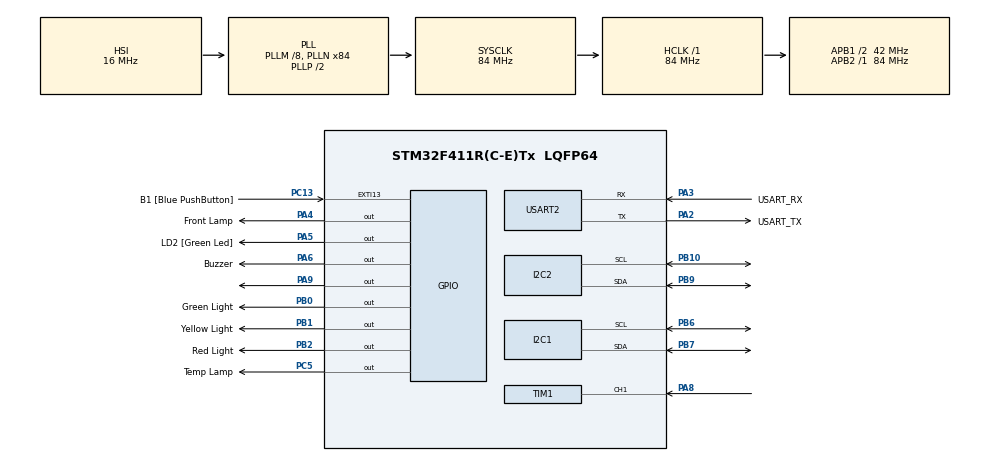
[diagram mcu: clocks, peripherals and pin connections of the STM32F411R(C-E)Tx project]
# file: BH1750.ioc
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I2C1.I2C_Mode=I2C_Fast
I2C2.I2C_Mode=I2C_Standard
Mcu.Family=STM32F4
Mcu.Name=STM32F411R(C-E)Tx
Mcu.Package=LQFP64
NVIC.PriorityGroup=NVIC_PRIORITYGROUP_0
NVIC.TIM1_CC_IRQn=true\:0\:0\:false\:false\:true\:true\:true\:true
NVIC.TIM1_UP_TIM10_IRQn=true\:0\:0\:false\:false\:true\:true\:true\:true
PA13.GPIO_Label=TMS
PA13.Mode=Serial_Wire
PA13.Signal=SYS_JTMS-SWDIO
PA14.GPIO_Label=TCK
PA14.Mode=Serial_Wire
PA14.Signal=SYS_JTCK-SWCLK
PA2.GPIO_Label=USART_TX
PA2.Mode=Asynchronous
PA2.Signal=USART2_TX
PA3.GPIO_Label=USART_RX
PA3.Mode=Asynchronous
PA3.Signal=USART2_RX
PA4.GPIO_Label=Front Lamp
PA4.Signal=GPIO_Output
PA5.GPIO_Label=LD2 [Green Led]
PA5.Signal=GPIO_Output
PA6.GPIO_Label=Buzzer
PA6.Signal=GPIO_Output
PA8.Signal=S_TIM1_CH1
PA9.Signal=GPIO_Output
PB0.GPIO_Label=Green Light
PB0.Signal=GPIO_Output
PB1.GPIO_Label=Yellow Light
PB1.Signal=GPIO_Output
PB10.Mode=I2C
PB10.Signal=I2C2_SCL
PB2.GPIO_Label=Red Light
PB2.Signal=GPIO_Output
PB3.GPIO_Label=SWO
PB3.Signal=SYS_JTDO-SWO
PB6.Mode=I2C
PB6.Signal=I2C1_SCL
PB7.Mode=I2C
PB7.Signal=I2C1_SDA
PB9.Mode=I2C
PB9.Signal=I2C2_SDA
PC13-ANTI_TAMP.GPIO_Label=B1 [Blue PushButton]
PC13-ANTI_TAMP.GPIO_ModeDefaultEXTI=GPIO_MODE_IT_FALLING
PC13-ANTI_TAMP.Signal=GPXTI13
PC14-OSC32_IN.Mode=LSE-External-Oscillator
PC14-OSC32_IN.Signal=RCC_OSC32_IN
PC15-OSC32_OUT.Mode=LSE-External-Oscillator
PC15-OSC32_OUT.Signal=RCC_OSC32_OUT
PC5.GPIO_Label=Temp Lamp
PC5.Signal=GPIO_Output
PH0\ -\ OSC_IN.Mode=HSE-External-Clock-Source
PH0\ -\ OSC_IN.Signal=RCC_OSC_IN
PH1\ -\ OSC_OUT.Mode=HSE-External-Clock-Source
PH1\ -\ OSC_OUT.Signal=RCC_OSC_OUT
ProjectManager.HeapSize=0x200
ProjectManager.StackSize=0x400
ProjectManager.TargetToolchain=STM32CubeIDE
RCC.48MHZClocksFreq_Value=42000000
RCC.AHBFreq_Value=84000000
RCC.APB1CLKDivider=RCC_HCLK_DIV2
RCC.APB1Freq_Value=42000000
RCC.APB1TimFreq_Value=84000000
RCC.APB2Freq_Value=84000000
RCC.APB2TimFreq_Value=84000000
RCC.CortexFreq_Value=84000000
RCC.FLatency-AdvancedSettings=FLASH_LATENCY_2
RCC.HCLKFreq_Value=84000000
RCC.HSE_VALUE=8000000
RCC.HSI_VALUE=16000000
RCC.PLLM=8
RCC.PLLN=84
RCC.SYSCLKFreq_VALUE=84000000
RCC.SYSCLKSource=RCC_SYSCLKSOURCE_PLLCLK
RCC.VCOOutputFreq_Value=168000000
SH.S_TIM1_CH1.0=TIM1_CH1,Input_Capture1_from_TI1
TIM1.Channel-Input_Capture1_from_TI1=TIM_CHANNEL_1
TIM1.Prescaler=72
USART2.VirtualMode=VM_ASYNC
VP_TIM1_VS_ClockSourceINT.Mode=Internal
board=NUCLEO-F411RE

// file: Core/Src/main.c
/* USER CODE BEGIN Header */
/**
  ******************************************************************************
  * @file           : main.c
  * @brief          : Main program body
  ******************************************************************************
  * @attention
  *
  * Copyright (c) 2024 STMicroelectronics.
  * All rights reserved.
  *
  * This software is licensed under terms that can be found in the LICENSE file
  * in the root directory of this software component.
  * If no LICENSE file comes with this software, it is provided AS-IS.
  *
  ******************************************************************************
  */
/* USER CODE END Header */
#include "main.h"

/* USER CODE BEGIN Includes */
#include "bh1750.h"
#include "mpu6050.h"
#include "stdio.h"

/* USER CODE END Includes */

I2C_HandleTypeDef hi2c1;
I2C_HandleTypeDef hi2c2;

TIM_HandleTypeDef htim1;

UART_HandleTypeDef huart2;

/* USER CODE BEGIN PV */
MPU6050_t MPU6050;
float BH1750_lux;
sr04_t sr04;
/* USER CODE END PV */

void SystemClock_Config(void);
static void MX_GPIO_Init(void);
static void MX_USART2_UART_Init(void);
static void MX_I2C1_Init(void);
static void MX_I2C2_Init(void);
static void MX_TIM1_Init(void);

int main(void)
{

  /* MCU Configuration--------------------------------------------------------*/

  /* Reset of all peripherals, Initializes the Flash interface and the Systick. */
  HAL_Init();

  /* Configure the system clock */
  SystemClock_Config();

  /* Initialize all configured peripherals */
  MX_GPIO_Init();
  MX_USART2_UART_Init();
  MX_I2C1_Init();
  MX_I2C2_Init();
  MX_TIM1_Init();
  /* USER CODE BEGIN 2 */
  while (MPU6050_Init(&hi2c1) == 1);

  BH1750_Init(&hi2c2);
  BH1750_SetMode(CONTINUOUS_HIGH_RES_MODE_2);

  sr04.trig_port = GPIOA;
  sr04.trig_pin = GPIO_PIN_9;
  sr04.echo_htim = &htim1;
  sr04.echo_channel = TIM_CHANNEL_1;
  sr04_init(&sr04);

  /* USER CODE END 2 */

  /* Infinite loop */
  /* USER CODE BEGIN WHILE */
  char buffer[40];
  uint8_t size;

  while (1)
  {
	  // Gyroscope and Thermometer
	  MPU6050_Read_All(&hi2c1, &MPU6050);
	  size = sprintf(buffer, "Gyro X/Y: %f %f\r\nTemp: %f\r\n", MPU6050.KalmanAngleX, MPU6050.KalmanAngleY, MPU6050.Temperature);
	  HAL_UART_Transmit(&huart2, (uint8_t*)buffer, size, 100);

	  // Ultrasonic sensor reading distance
	  sr04_trigger(&sr04);
	  size = sprintf(buffer, "Distance: %d\n\r", sr04.distance);
	  HAL_UART_Transmit(&huart2, (uint8_t*)buffer, size, 100);

	  // Lux Meter
	  if(BH1750_OK == BH1750_ReadLight(&BH1750_lux))
	  {
		  size = sprintf(buffer, "BH1750: %.2f\n\r", BH1750_lux);
	  	  HAL_UART_Transmit(&huart2, (uint8_t*)buffer, size, 100);
	  } else {
	      size = sprintf(buffer, "ERROR\r\n");
	  	  HAL_UART_Transmit(&huart2, (uint8_t*)buffer, size, 100);
	  }

	  // If brightness is less than 50 lux, then open the front lamp
	  if(BH1750_lux < 50){
		  HAL_GPIO_WritePin(GPIOA, GPIO_PIN_4, GPIO_PIN_SET);
	  }
	  else{
		  HAL_GPIO_WritePin(GPIOA, GPIO_PIN_4, GPIO_PIN_RESET);
	  }

	  // if temp > 29, then open the temp lamp
	  if(MPU6050.Temperature > 29) {
		  HAL_GPIO_WritePin(GPIOC, GPIO_PIN_5, GPIO_PIN_SET);
	  } else {
		  HAL_GPIO_WritePin(GPIOC, GPIO_PIN_5, GPIO_PIN_RESET);
	  }

	  // Gyroscope: MPU6050.KalmanAngleX
	  // more than 15 degrees -> Yellow
	  // more than 30 degrees -> Red + Buzzer
	  // Ultrasonic: sr04.distance
	  // less than 200 mm -> Yellow
	  // less than 100 mm -> Red + Buzzer

	  if (MPU6050.KalmanAngleX > 30 || MPU6050.KalmanAngleX < -30 || sr04.distance < 100) {
		  // Red + Buzzer: Angle > 30 degree or Distance < 100 mm
		  size = sprintf(buffer, "RED", BH1750_lux);
		  HAL_UART_Transmit(&huart2, (uint8_t*)buffer, size, 100);

		  HAL_GPIO_WritePin(GPIOB, GPIO_PIN_0, GPIO_PIN_RESET);
		  HAL_GPIO_WritePin(GPIOB, GPIO_PIN_1, GPIO_PIN_RESET);
		  HAL_GPIO_WritePin(GPIOB, GPIO_PIN_2, GPIO_PIN_SET);
		  HAL_GPIO_WritePin(GPIOA, GPIO_PIN_6, GPIO_PIN_SET);
		  HAL_Delay(10);
	  } else if (MPU6050.KalmanAngleX > 15 || MPU6050.KalmanAngleX < -15 || sr04.distance < 200) {
		  // Yellow: Angle > 15 degree or Distance < 200 mm
		  size = sprintf(buffer, "Yellow", BH1750_lux);
		  HAL_UART_Transmit(&huart2, (uint8_t*)buffer, size, 100);

		  HAL_GPIO_WritePin(GPIOB, GPIO_PIN_0, GPIO_PIN_RESET);
		  HAL_GPIO_WritePin(GPIOB, GPIO_PIN_1, GPIO_PIN_SET);
		  HAL_GPIO_WritePin(GPIOB, GPIO_PIN_2, GPIO_PIN_RESET);
		  HAL_GPIO_WritePin(GPIOA, GPIO_PIN_6, GPIO_PIN_RESET);
		  HAL_Delay(10);
	  } else {
		  // Green: Normal
		  size = sprintf(buffer, "Green", BH1750_lux);
		  HAL_UART_Transmit(&huart2, (uint8_t*)buffer, size, 100);

		  HAL_GPIO_WritePin(GPIOB, GPIO_PIN_0, GPIO_PIN_SET);
		  HAL_GPIO_WritePin(GPIOB, GPIO_PIN_1, GPIO_PIN_RESET);
		  HAL_GPIO_WritePin(GPIOB, GPIO_PIN_2, GPIO_PIN_RESET);
		  HAL_GPIO_WritePin(GPIOA, GPIO_PIN_6, GPIO_PIN_RESET);
		  HAL_Delay(10);
	  }
	  HAL_Delay(100);

    /* USER CODE END WHILE */

  }
}

void SystemClock_Config(void)
{
  RCC_OscInitTypeDef RCC_OscInitStruct = {0};
  RCC_ClkInitTypeDef RCC_ClkInitStruct = {0};

  /** Configure the main internal regulator output voltage
  */
  __HAL_RCC_PWR_CLK_ENABLE();
  __HAL_PWR_VOLTAGESCALING_CONFIG(PWR_REGULATOR_VOLTAGE_SCALE1);

  /** Initializes the RCC Oscillators according to the specified parameters
  * in the RCC_OscInitTypeDef structure.
  */
  RCC_OscInitStruct.OscillatorType = RCC_OSCILLATORTYPE_HSI;
  RCC_OscInitStruct.HSIState = RCC_HSI_ON;
  RCC_OscInitStruct.HSICalibrationValue = RCC_HSICALIBRATION_DEFAULT;
  RCC_OscInitStruct.PLL.PLLState = RCC_PLL_ON;
  RCC_OscInitStruct.PLL.PLLSource = RCC_PLLSOURCE_HSI;
  RCC_OscInitStruct.PLL.PLLM = 8;
  RCC_OscInitStruct.PLL.PLLN = 84;
  RCC_OscInitStruct.PLL.PLLP = RCC_PLLP_DIV2;
  RCC_OscInitStruct.PLL.PLLQ = 4;
  if (HAL_RCC_OscConfig(&RCC_OscInitStruct) != HAL_OK)
  {
    Error_Handler();
  }

  /** Initializes the CPU, AHB and APB buses clocks
  */
  RCC_ClkInitStruct.ClockType = RCC_CLOCKTYPE_HCLK|RCC_CLOCKTYPE_SYSCLK
                              |RCC_CLOCKTYPE_PCLK1|RCC_CLOCKTYPE_PCLK2;
  RCC_ClkInitStruct.SYSCLKSource = RCC_SYSCLKSOURCE_PLLCLK;
  RCC_ClkInitStruct.AHBCLKDivider = RCC_SYSCLK_DIV1;
  RCC_ClkInitStruct.APB1CLKDivider = RCC_HCLK_DIV2;
  RCC_ClkInitStruct.APB2CLKDivider = RCC_HCLK_DIV1;

  if (HAL_RCC_ClockConfig(&RCC_ClkInitStruct, FLASH_LATENCY_2) != HAL_OK)
  {
    Error_Handler();
  }
}

static void MX_I2C1_Init(void)
{

  hi2c1.Instance = I2C1;
  hi2c1.Init.ClockSpeed = 400000;
  hi2c1.Init.DutyCycle = I2C_DUTYCYCLE_2;
  hi2c1.Init.OwnAddress1 = 0;
  hi2c1.Init.AddressingMode = I2C_ADDRESSINGMODE_7BIT;
  hi2c1.Init.DualAddressMode = I2C_DUALADDRESS_DISABLE;
  hi2c1.Init.OwnAddress2 = 0;
  hi2c1.Init.GeneralCallMode = I2C_GENERALCALL_DISABLE;
  hi2c1.Init.NoStretchMode = I2C_NOSTRETCH_DISABLE;
  if (HAL_I2C_Init(&hi2c1) != HAL_OK)
  {
    Error_Handler();
  }

}

static void MX_I2C2_Init(void)
{

  hi2c2.Instance = I2C2;
  hi2c2.Init.ClockSpeed = 100000;
  hi2c2.Init.DutyCycle = I2C_DUTYCYCLE_2;
  hi2c2.Init.OwnAddress1 = 0;
  hi2c2.Init.AddressingMode = I2C_ADDRESSINGMODE_7BIT;
  hi2c2.Init.DualAddressMode = I2C_DUALADDRESS_DISABLE;
  hi2c2.Init.OwnAddress2 = 0;
  hi2c2.Init.GeneralCallMode = I2C_GENERALCALL_DISABLE;
  hi2c2.Init.NoStretchMode = I2C_NOSTRETCH_DISABLE;
  if (HAL_I2C_Init(&hi2c2) != HAL_OK)
  {
    Error_Handler();
  }

}

static void MX_TIM1_Init(void)
{

  TIM_ClockConfigTypeDef sClockSourceConfig = {0};
  TIM_MasterConfigTypeDef sMasterConfig = {0};
  TIM_IC_InitTypeDef sConfigIC = {0};

  htim1.Instance = TIM1;
  htim1.Init.Prescaler = 72;
  htim1.Init.CounterMode = TIM_COUNTERMODE_UP;
  htim1.Init.Period = 65535;
  htim1.Init.ClockDivision = TIM_CLOCKDIVISION_DIV1;
  htim1.Init.RepetitionCounter = 0;
  htim1.Init.AutoReloadPreload = TIM_AUTORELOAD_PRELOAD_DISABLE;
  if (HAL_TIM_Base_Init(&htim1) != HAL_OK)
  {
    Error_Handler();
  }
  sClockSourceConfig.ClockSource = TIM_CLOCKSOURCE_INTERNAL;
  if (HAL_TIM_ConfigClockSource(&htim1, &sClockSourceConfig) != HAL_OK)
  {
    Error_Handler();
  }
  if (HAL_TIM_IC_Init(&htim1) != HAL_OK)
  {
    Error_Handler();
  }
  sMasterConfig.MasterOutputTrigger = TIM_TRGO_RESET;
  sMasterConfig.MasterSlaveMode = TIM_MASTERSLAVEMODE_DISABLE;
  if (HAL_TIMEx_MasterConfigSynchronization(&htim1, &sMasterConfig) != HAL_OK)
  {
    Error_Handler();
  }
  sConfigIC.ICPolarity = TIM_INPUTCHANNELPOLARITY_RISING;
  sConfigIC.ICSelection = TIM_ICSELECTION_DIRECTTI;
  sConfigIC.ICPrescaler = TIM_ICPSC_DIV1;
  sConfigIC.ICFilter = 0;
  if (HAL_TIM_IC_ConfigChannel(&htim1, &sConfigIC, TIM_CHANNEL_1) != HAL_OK)
  {
    Error_Handler();
  }

}

static void MX_USART2_UART_Init(void)
{

  huart2.Instance = USART2;
  huart2.Init.BaudRate = 115200;
  huart2.Init.WordLength = UART_WORDLENGTH_8B;
  huart2.Init.StopBits = UART_STOPBITS_1;
  huart2.Init.Parity = UART_PARITY_NONE;
  huart2.Init.Mode = UART_MODE_TX_RX;
  huart2.Init.HwFlowCtl = UART_HWCONTROL_NONE;
  huart2.Init.OverSampling = UART_OVERSAMPLING_16;
  if (HAL_UART_Init(&huart2) != HAL_OK)
  {
    Error_Handler();
  }

}

static void MX_GPIO_Init(void)
{
  GPIO_InitTypeDef GPIO_InitStruct = {0};

  /* GPIO Ports Clock Enable */
  __HAL_RCC_GPIOC_CLK_ENABLE();
  __HAL_RCC_GPIOH_CLK_ENABLE();
  __HAL_RCC_GPIOA_CLK_ENABLE();
  __HAL_RCC_GPIOB_CLK_ENABLE();

  /*Configure GPIO pin Output Level */
  HAL_GPIO_WritePin(GPIOA, Front_Lamp_Pin|LD2_Pin|Buzzer_Pin|GPIO_PIN_9, GPIO_PIN_RESET);

  /*Configure GPIO pin Output Level */
  HAL_GPIO_WritePin(Temp_Lamp_GPIO_Port, Temp_Lamp_Pin, GPIO_PIN_RESET);

  /*Configure GPIO pin Output Level */
  HAL_GPIO_WritePin(GPIOB, Green_Light_Pin|Yellow_Light_Pin|Red_Light_Pin, GPIO_PIN_RESET);

  /*Configure GPIO pin : B1_Pin */
  GPIO_InitStruct.Pin = B1_Pin;
  GPIO_InitStruct.Mode = GPIO_MODE_IT_FALLING;
  GPIO_InitStruct.Pull = GPIO_NOPULL;
  HAL_GPIO_Init(B1_GPIO_Port, &GPIO_InitStruct);

  /*Configure GPIO pins : Front_Lamp_Pin LD2_Pin Buzzer_Pin PA9 */
  GPIO_InitStruct.Pin = Front_Lamp_Pin|LD2_Pin|Buzzer_Pin|GPIO_PIN_9;
  GPIO_InitStruct.Mode = GPIO_MODE_OUTPUT_PP;
  GPIO_InitStruct.Pull = GPIO_NOPULL;
  GPIO_InitStruct.Speed = GPIO_SPEED_FREQ_LOW;
  HAL_GPIO_Init(GPIOA, &GPIO_InitStruct);

  /*Configure GPIO pin : Temp_Lamp_Pin */
  GPIO_InitStruct.Pin = Temp_Lamp_Pin;
  GPIO_InitStruct.Mode = GPIO_MODE_OUTPUT_PP;
  GPIO_InitStruct.Pull = GPIO_NOPULL;
  GPIO_InitStruct.Speed = GPIO_SPEED_FREQ_LOW;
  HAL_GPIO_Init(Temp_Lamp_GPIO_Port, &GPIO_InitStruct);

  /*Configure GPIO pins : Green_Light_Pin Yellow_Light_Pin Red_Light_Pin */
  GPIO_InitStruct.Pin = Green_Light_Pin|Yellow_Light_Pin|Red_Light_Pin;
  GPIO_InitStruct.Mode = GPIO_MODE_OUTPUT_PP;
  GPIO_InitStruct.Pull = GPIO_NOPULL;
  GPIO_InitStruct.Speed = GPIO_SPEED_FREQ_LOW;
  HAL_GPIO_Init(GPIOB, &GPIO_InitStruct);

}

void Error_Handler(void)
{
  __disable_irq();
  while (1)
  {
  }
}
